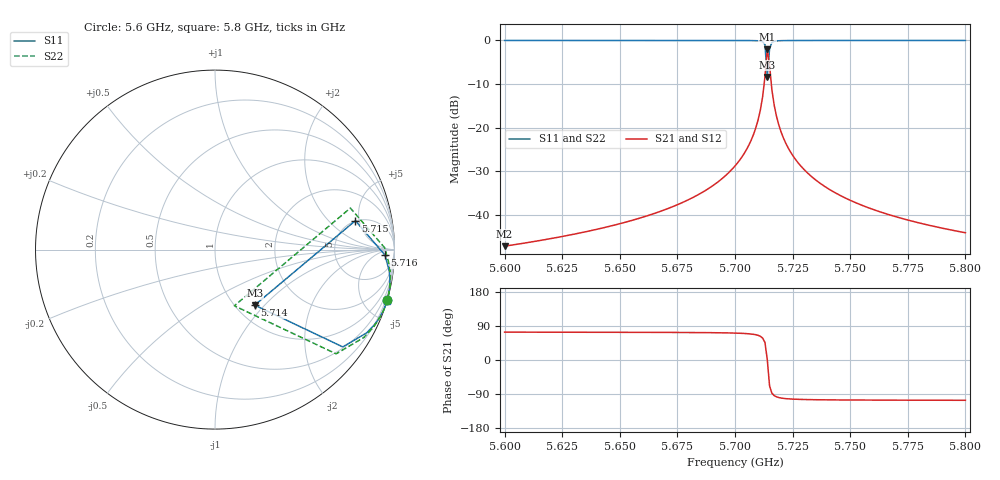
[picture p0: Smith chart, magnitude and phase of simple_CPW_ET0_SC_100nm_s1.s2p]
! Touchstone file exported from HFSS 2022.2.0
!  File:  //Mac/Home/Documents/Ansoft/simple_CPW.aedt
!  Generated:  1:01:46 PM  Jan 26, 2023
!  Design:  ET0_SC_100nm
!  Project:  simple_CPW
!  Setup:  Setup1
!  Solution:  Sweep1
# GHz S MA R 50.000000
! Terminal data exported
! Port[1] = 1
! Port[2] = 2
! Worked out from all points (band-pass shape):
!   201 points, 5.6 GHz to 5.8 GHz, reference 50 ohm
!   highest |S21| = -2.02 dB at 5.714 GHz (marker M1); lowest = -47.2 dB at 5.6 GHz (marker M2)
!   |S21| within 3 dB of the highest: 5.713526 GHz to 5.714804 GHz (1.279 MHz wide, 0.0224 % of centre)
!   lowest |S11| = -8.4 dB at 5.714 GHz (marker M3), VSWR 2.23, Z = 60.9 - j44.1 ohm
!   |S11| at or under -10 dB: nowhere
!   |S22| runs from -9.6 to 0.0 dB; largest |S21 - S12| = 1e-15
!   S11 on the Smith chart (normalised r, x): 5.6 GHz: 0.00, -6.91; 5.714 GHz: 1.22, -0.88; 5.715 GHz: 4.93, +4.39; 5.716 GHz: 27, -16; 5.8 GHz: 0.00, -6.90
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5.6  1 -16.5  0.004377 73.5  0.004377 73.5  1 -16.4
! Gamma 0 297.09214687381 0 297.054423105263
! Port Impedance 50 0 50 0
5.634  1 -16.7  0.006304 73.3  0.006304 73.3  1 -16.6
5.667  0.9999 -17.0  0.01083 72.9  0.01083 72.9  0.9999 -17.0
5.687  0.9998 -17.5  0.01892 72.3  0.01892 72.3  0.9998 -17.6
5.7  0.9991 -18.5  0.03636 71.0  0.03636 71.0  0.9991 -18.7
5.705  0.9979 -19.5  0.05613 69.7  0.05613 69.7  0.9978 -19.9
5.708  0.9953 -21.0  0.08312 67.8  0.08312 67.8  0.9951 -21.6
5.71  0.9898 -23.1  0.122 65.1  0.122 65.1  0.9894 -24.0
5.712  0.9645 -28.7  0.2264 57.8  0.2264 57.8  0.9631 -30.5
5.713  0.8948 -37.3  0.3827 46.2  0.3827 46.2  0.8903 -40.7
5.714  0.3804 -54.4  0.7925 1.9  0.7925 1.9  0.3311 -71.0
5.715  0.7985 11.6  0.5158 -68.4  0.5158 -68.4  0.789 17.1
5.716  0.9474 -1.8  0.274 -87.4  0.274 -87.4  0.9452 0.6
5.717  0.9772 -6.9  0.1818 -93.9  0.1818 -93.9  0.9762 -5.2
5.718  0.9874 -9.3  0.1354 -97.2  0.1354 -97.2  0.9869 -8.1
5.72  0.9945 -11.8  0.08936 -100.4  0.08936 -100.4  0.9943 -11.0
5.722  0.997 -13.0  0.06664 -102.0  0.06664 -102.0  0.9968 -12.4
5.727  0.9989 -14.4  0.04075 -103.7  0.04075 -103.7  0.9988 -14.0
5.734  0.9995 -15.2  0.02642 -104.7  0.02642 -104.7  0.9995 -14.9
5.748  0.9998 -15.8  0.01555 -105.5  0.01555 -105.5  0.9998 -15.6
5.767  0.9999 -16.2  0.01002 -106.0  0.01002 -106.0  0.9999 -16.0
5.8  1 -16.5  0.006237 -106.3  0.006237 -106.3  1 -16.3
